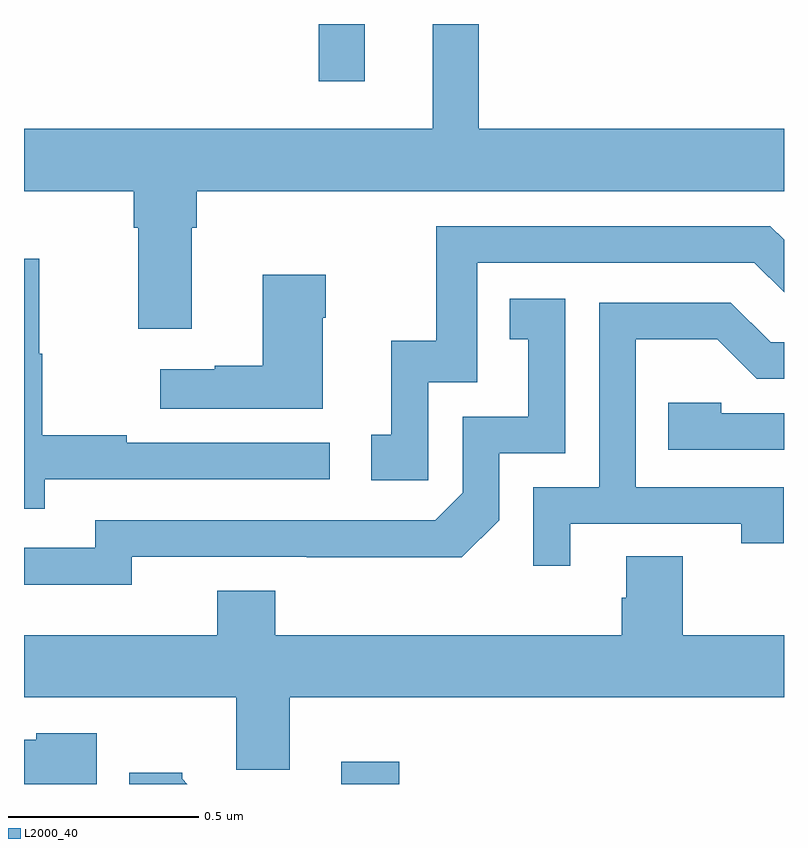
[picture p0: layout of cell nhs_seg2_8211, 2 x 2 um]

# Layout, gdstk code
import gdstk
lib = gdstk.Library(unit=1e-6, precision=1e-09)
def R(c, l, rs):  # rectangles x0, y0, x1, y1
    for r in rs: c.add(gdstk.rectangle(r[:2], r[2:], *l))
def P(c, l, *ps):  # polygons
    for p in ps: c.add(gdstk.Polygon(p, *l))
L2000_40 = (2000, 40)

nhs_seg2_8211 = lib.new_cell('nhs_seg2_8211')
R(nhs_seg2_8211, L2000_40, [(214.835,588.8,214.988,588.859), (214.776,590.649,214.897,590.8)])
P(nhs_seg2_8211, L2000_40, [(214.441,590.264),(214.454,590.264),(214.454,590.36),(216,590.36),(216,590.524),(215.197,590.524),(215.197,590.8),(215.075,590.8),(215.075,590.524),(214,590.524),(214,590.36),(214.289,590.36),(214.289,590.264),(214.301,590.264),(214.301,589.998),(214.441,589.998)],
  [(215.064,589.857),(215.193,589.857),(215.193,590.172),(215.922,590.172),(216,590.094),(216,590.232),(215.964,590.268),(215.085,590.268),(215.085,589.966),(214.967,589.966),(214.967,589.719),(214.914,589.719),(214.914,589.599),(215.064,589.599)],
  [(214.055,589.602),(214.804,589.602),(214.804,589.698),(214.271,589.698),(214.271,589.718),(214.048,589.718),(214.048,589.932),(214.04,589.932),(214.04,590.182),(214,590.182),(214,589.524),(214.055,589.524)],
  [(214.786,590.027),(214.794,590.027),(214.794,590.14),(214.628,590.14),(214.628,589.901),(214.502,589.901),(214.502,589.891),(214.359,589.891),(214.359,589.787),(214.786,589.787)],
  [(214.284,589.398),(214.744,589.398),(214.744,589.397),(215.152,589.397),(215.25,589.494),(215.25,589.671),(215.424,589.671),(215.424,590.077),(215.278,590.077),(215.278,589.971),(215.327,589.971),(215.327,589.767),(215.154,589.767),(215.154,589.566),(215.082,589.494),(214.188,589.494),(214.188,589.422),(214,589.422),(214,589.325),(214.284,589.325)],
  [(215.437,589.485),(215.888,589.485),(215.888,589.434),(215.999,589.434),(215.999,589.581),(215.61,589.581),(215.61,589.97),(215.824,589.97),(215.928,589.866),(216,589.866),(216,589.962),(215.965,589.962),(215.86,590.067),(215.514,590.067),(215.514,589.581),(215.34,589.581),(215.34,589.374),(215.437,589.374)],
  [(216,589.776),(215.835,589.776),(215.835,589.803),(215.695,589.803),(215.695,589.68),(216,589.68)],
  [(214.508,589.309),(214.508,589.192),(214,589.192),(214,589.028),(214.559,589.028),(214.559,588.838),(214.699,588.838),(214.699,589.028),(216,589.028),(216,589.192),(215.733,589.192),(215.733,589.4),(215.585,589.4),(215.585,589.29),(215.573,589.29),(215.573,589.192),(214.661,589.192),(214.661,589.309)],
  [(214.192,588.934),(214.032,588.934),(214.032,588.916),(214,588.916),(214,588.8),(214.192,588.8)],
  [(214.416,588.814),(214.416,588.829),(214.277,588.829),(214.277,588.8),(214.43,588.8)])

lib.write_gds('nhs_seg2_8211.gds')
